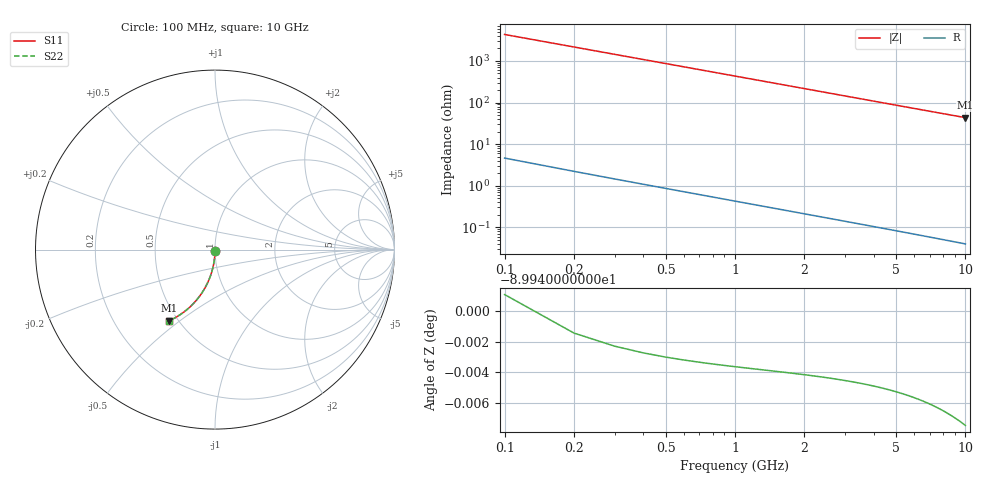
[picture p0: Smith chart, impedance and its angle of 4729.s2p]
# Hz S RI R 50.00
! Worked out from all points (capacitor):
!   100 points, 100 MHz to 10 GHz, reference 50 ohm
!   read as one part in shunt: C = 367 fF near 100 MHz
!   lowest |Z| = 43.4 ohm at 10 GHz (marker M1)
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1e8  7.14e-05 -0.00537  0.9998 -0.00615  0.9998 -0.00615  7.14e-05 -0.00537
2e8  -3.26e-05 -0.0107  0.9997 -0.0123  0.9997 -0.0123  -3.26e-05 -0.0107
3e8  -0.000203 -0.0161  0.9996 -0.0185  0.9996 -0.0185  -0.000203 -0.0161
4e8  -0.000439 -0.0215  0.9993 -0.0246  0.9993 -0.0246  -0.000439 -0.0215
5e8  -0.000742 -0.0268  0.999 -0.0307  0.999 -0.0307  -0.000742 -0.0268
6e8  -0.00111 -0.0322  0.9987 -0.0369  0.9987 -0.0369  -0.00111 -0.0322
7e8  -0.00154 -0.0375  0.9982 -0.043  0.9982 -0.043  -0.00154 -0.0375
8e8  -0.00204 -0.0429  0.9977 -0.0492  0.9977 -0.0492  -0.00204 -0.0429
9e8  -0.00261 -0.0482  0.9971 -0.0553  0.9971 -0.0553  -0.00261 -0.0482
1.1e9  -0.00394 -0.0589  0.9958 -0.0675  0.9958 -0.0675  -0.00394 -0.0589
1.4e9  -0.00641 -0.0748  0.9933 -0.0857  0.9933 -0.0857  -0.00641 -0.0748
1.8e9  -0.0106 -0.0957  0.9891 -0.1098  0.9891 -0.1098  -0.0106 -0.0957
2.1e9  -0.0144 -0.1113  0.9852 -0.1277  0.9852 -0.1277  -0.0144 -0.1113
2.5e9  -0.0204 -0.1317  0.9792 -0.1513  0.9792 -0.1513  -0.0204 -0.1317
2.9e9  -0.0273 -0.1517  0.9722 -0.1745  0.9722 -0.1745  -0.0273 -0.1517
3.4e9  -0.0372 -0.1761  0.9622 -0.2028  0.9622 -0.2028  -0.0372 -0.1761
4.2e9  -0.0558 -0.2133  0.9434 -0.2464  0.9434 -0.2464  -0.0558 -0.2133
5.1e9  -0.0805 -0.2522  0.9185 -0.2925  0.9185 -0.2925  -0.0805 -0.2522
5.9e9  -0.1052 -0.2838  0.8935 -0.3305  0.8935 -0.3305  -0.1052 -0.2838
6.7e9  -0.1321 -0.3124  0.8663 -0.3655  0.8663 -0.3655  -0.1321 -0.3124
8.4e9  -0.1942 -0.3626  0.8032 -0.4296  0.8032 -0.4296  -0.1942 -0.3626
1e10  -0.2561 -0.3969  0.7404 -0.477  0.7404 -0.477  -0.2561 -0.3969
